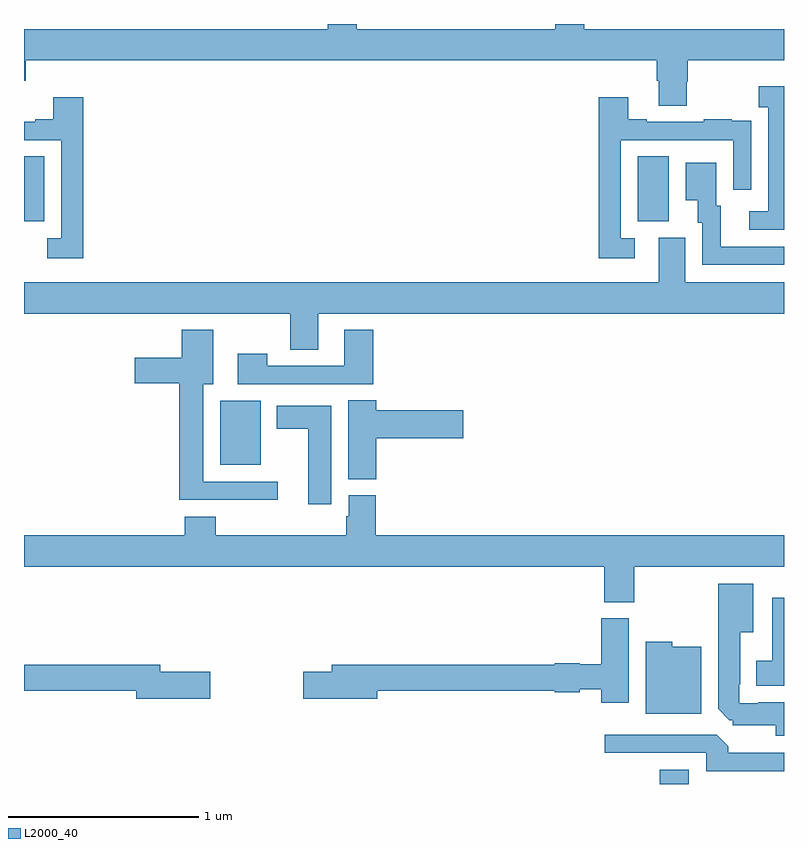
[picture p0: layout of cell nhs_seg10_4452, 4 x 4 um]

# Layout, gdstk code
import gdstk
lib = gdstk.Library(unit=1e-6, precision=1e-09)
def R(c, l, rs):  # rectangles x0, y0, x1, y1
    for r in rs: c.add(gdstk.rectangle(r[:2], r[2:], *l))
def P(c, l, *ps):  # polygons
    for p in ps: c.add(gdstk.Polygon(p, *l))
L2000_40 = (2000, 40)

nhs_seg10_4452 = lib.new_cell('nhs_seg10_4452')
R(nhs_seg10_4452, L2000_40, [(366.347,1304.5,366.499,1304.575), (364.034,1306.181,364.246,1306.516), (363,1307.461,363.106,1307.804), (366.23,1307.461,366.394,1307.804)])
P(nhs_seg10_4452, L2000_40, [(366.489,1308.195),(366.494,1308.195),(366.494,1308.308),(367,1308.308),(367,1308.472),(365.948,1308.472),(365.948,1308.5),(365.795,1308.5),(365.795,1308.472),(364.75,1308.472),(364.75,1308.5),(364.598,1308.5),(364.598,1308.472),(363,1308.472),(363,1308.202),(363.008,1308.202),(363.008,1308.308),(366.329,1308.308),(366.329,1308.202),(366.341,1308.202),(366.341,1308.07),(366.489,1308.07)],
  [(367,1308.172),(366.867,1308.172),(366.867,1308.062),(366.918,1308.062),(366.918,1307.514),(366.816,1307.514),(366.816,1307.418),(367,1307.418)],
  [(363.311,1308.115),(363.155,1308.115),(363.155,1307.998),(363.059,1307.998),(363.059,1307.985),(363,1307.985),(363,1307.889),(363.195,1307.889),(363.195,1307.373),(363.123,1307.373),(363.123,1307.268),(363.311,1307.268)],
  [(366.214,1307.373),(366.141,1307.373),(366.141,1307.889),(366.732,1307.889),(366.732,1307.628),(366.828,1307.628),(366.828,1307.882),(366.827,1307.882),(366.827,1307.991),(366.725,1307.991),(366.725,1307.998),(366.577,1307.998),(366.577,1307.985),(366.277,1307.985),(366.277,1307.998),(366.181,1307.998),(366.181,1308.115),(366.025,1308.115),(366.025,1307.268),(366.214,1307.268)],
  [(367,1307.328),(366.667,1307.328),(366.667,1307.544),(366.643,1307.544),(366.643,1307.77),(366.482,1307.77),(366.482,1307.573),(366.545,1307.573),(366.545,1307.454),(366.57,1307.454),(366.57,1307.232),(367,1307.232)],
  [(364.549,1306.976),(367,1306.976),(367,1307.14),(366.481,1307.14),(366.481,1307.376),(366.341,1307.376),(366.341,1307.14),(363,1307.14),(363,1306.976),(364.402,1306.976),(364.402,1306.786),(364.549,1306.786)],
  [(364.336,1306.092),(363.943,1306.092),(363.943,1306.604),(363.997,1306.604),(363.997,1306.891),(363.83,1306.891),(363.83,1306.744),(363.582,1306.744),(363.582,1306.61),(363.818,1306.61),(363.818,1305.995),(364.336,1305.995)],
  [(364.838,1306.891),(364.685,1306.891),(364.685,1306.701),(364.281,1306.701),(364.281,1306.765),(364.125,1306.765),(364.125,1306.605),(364.838,1306.605)],
  [(364.853,1306.319),(365.311,1306.319),(365.311,1306.466),(364.853,1306.466),(364.853,1306.52),(364.706,1306.52),(364.706,1306.105),(364.853,1306.105)],
  [(364.618,1306.492),(364.331,1306.492),(364.331,1306.37),(364.496,1306.37),(364.496,1305.972),(364.618,1305.972)],
  [(366.213,1305.644),(367,1305.644),(367,1305.808),(364.85,1305.808),(364.85,1306.02),(364.709,1306.02),(364.709,1305.909),(364.697,1305.909),(364.697,1305.808),(364.01,1305.808),(364.01,1305.907),(363.845,1305.907),(363.845,1305.808),(363,1305.808),(363,1305.644),(366.053,1305.644),(366.053,1305.457),(366.213,1305.457)],
  [(367,1304.929),(366.865,1304.929),(366.865,1304.925),(366.765,1304.925),(366.765,1305.025),(366.769,1305.025),(366.769,1305.299),(366.838,1305.299),(366.838,1305.553),(366.653,1305.553),(366.653,1304.895),(366.713,1304.835),(366.729,1304.835),(366.729,1304.808),(366.956,1304.808),(366.956,1304.753),(367,1304.753)],
  [(367,1305.481),(366.938,1305.481),(366.938,1305.148),(366.854,1305.148),(366.854,1305.017),(367,1305.017)],
  [(366.184,1305.372),(366.038,1305.372),(366.038,1305.129),(365.924,1305.129),(365.924,1305.136),(365.793,1305.136),(365.793,1305.128),(364.619,1305.128),(364.619,1305.092),(364.47,1305.092),(364.47,1304.95),(364.858,1304.95),(364.858,1304.992),(365.793,1304.992),(365.793,1304.984),(365.924,1304.984),(365.924,1304.999),(366.038,1304.999),(366.038,1304.928),(366.184,1304.928)],
  [(366.565,1305.223),(366.411,1305.223),(366.411,1305.25),(366.272,1305.25),(366.272,1304.87),(366.565,1304.87)],
  [(363.979,1305.092),(363.718,1305.092),(363.718,1305.128),(363,1305.128),(363,1304.992),(363.59,1304.992),(363.59,1304.95),(363.979,1304.95)],
  [(367,1304.664),(366.707,1304.664),(366.707,1304.698),(366.645,1304.76),(366.057,1304.76),(366.057,1304.664),(366.591,1304.664),(366.591,1304.568),(367,1304.568)])

lib.write_gds('nhs_seg10_4452.gds')
